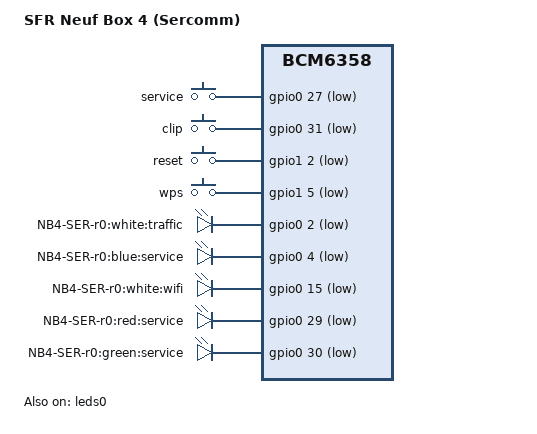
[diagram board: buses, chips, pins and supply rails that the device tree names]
/dts-v1/;

/include/ "bcm6358.dtsi"

/ {
	model = "SFR Neuf Box 4 (Sercomm)";
	compatible = "sfr,nb4-ser-r0", "brcm,bcm6358";

	gpio-keys-polled {
		compatible = "gpio-keys-polled";
		#address-cells = <1>;
		#size-cells = <0>;
		poll-interval = <20>;
		debounce-interval = <60>;

		service {
			label = "service";
			gpios = <&gpio0 27 1>;
			linux,code = <0x100>;
		};
		clip {
			label = "clip";
			gpios = <&gpio0 31 1>;
			linux,code = <0x101>;
		};
		reset {
			label = "reset";
			gpios = <&gpio1 2 1>;
			linux,code = <0x198>;
		};
		wps {
			label = "wps";
			gpios = <&gpio1 5 1>;
			linux,code = <0x211>;
		};
	};

	gpio-leds {
		compatible = "gpio-leds";

		traffic_white {
			label = "NB4-SER-r0:white:traffic";
			gpios = <&gpio0 2 1>;
		};
		service_blue {
			label = "NB4-SER-r0:blue:service";
			gpios = <&gpio0 4 1>;
		};
		wifi_white {
			label = "NB4-SER-r0:white:wifi";
			gpios = <&gpio0 15 1>;
		};
		service_red {
			label = "NB4-SER-r0:red:service";
			gpios = <&gpio0 29 1>;
		};
		service_green {
			label = "NB4-SER-r0:green:service";
			gpios = <&gpio0 30 1>;
		};
	};
};

&leds0 {
	status = "ok";

	alarm_white {
		reg = <0>;
		active-low;
		label = "NB4-SER-r0:white:alarm";
	};
	tv_white {
		reg = <2>;
		active-low;
		label = "NB4-SER-r0:white:tv";
	};
	tel_white {
		reg = <3>;
		active-low;
		label = "NB4-SER-r0:white:tel";
	};
	adsl_white {
		reg = <4>;
		active-low;
		label = "NB4-SER-r0:white:adsl";
	};
};
